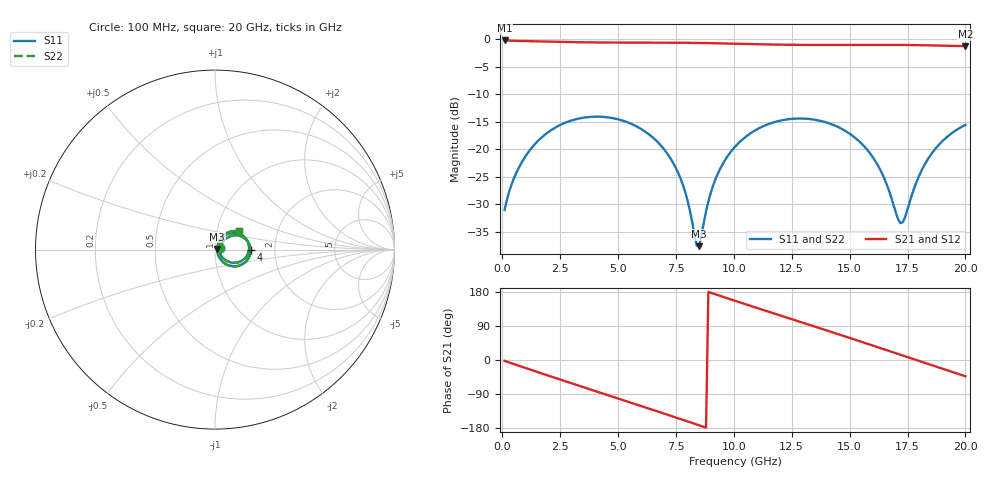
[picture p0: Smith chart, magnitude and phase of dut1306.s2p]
! Touchstone file exported from HFSS 2026.1.0
!  File:  C:/ffzhzh/LocalFiles/Ansys_Project_Files/temp_train_TSV_RDL_1306_1783334470_39728.aedt
!  Generated:  06:50:16 PM Jul  6, 2026
!  Design:  TSV_RDL
!  Project:  temp_train_TSV_RDL_1306_1783334470_39728
! Variables:
!  h_bsmrdl = 4.91um
!  h_ox = 20um
!  h_rdl = 5um
!  h_sub = 95.81um
!  h_tmrdl = 3.85um
!  h_tsv = 95.81um
!  h_via = 3um
!  l_bsmrdl = 645.18um
!  l_sub = 6404.29um
!  l_tmrdl = 988.35um
!  m_sub = 200um
!  pitch = 31.45um
!  r_tsv = 12.6um
!  s_tmrdl = 10um
!  w_bsmrdl = 15.76um
!  w_sub = 500um
!  w_tmrdl = 22.69um
!  x_tsv_center1 = 999.695um
!  x_tsv_center2 = 1660.635um
!  x_tsv_center3 = 2671.675um
!  x_tsv_center4 = 3332.615um
!  x_tsv_center5 = 4343.655um
!  x_tsv_center6 = 5004.595um
# GHz S MA R 50.000000
! Terminal data exported
! Port[1] = TM_RDL1_1_T1
! Port[2] = TM_RDL5_1_T1
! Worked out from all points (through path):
!   200 points, 100 MHz to 20 GHz, reference 50 ohm
!   highest |S21| = -0.23 dB at 100 MHz (marker M1); lowest = -1.3 dB at 20 GHz (marker M2)
!   group delay of S21, straight-line fit = 55.8 ps
!   lowest |S11| = -37.6 dB at 8.5 GHz (marker M3), VSWR 1.03, Z = 51.3 + j0.326 ohm
!   |S11| at or under -10 dB: start of sweep to end of sweep
!   |S22| runs from -37.8 to -14.1 dB; largest |S21 - S12| = 3.8e-14
!   S11 on the Smith chart (normalised r, x): 100 MHz: 1.05, +0.02; 4 GHz: 1.49, -0.01; 20 GHz: 1.27, +0.27
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0.1  0.02828 20.5  0.9739 -2.3  0.9739 -2.3  0.02828 20.5
! Gamma 0 0 0 0
! Port Impedance 50 0 50 0
0.6  0.0608 43.9  0.9649 -12.8  0.9649 -12.8  0.06081 43.9
1.3  0.105 42.7  0.9581 -27.2  0.9581 -27.2  0.105 42.7
3.5  0.1938 8.2  0.9369 -71.6  0.9369 -71.6  0.1938 8.2
4  0.198 -0.8  0.934 -81.6  0.934 -81.6  0.198 -0.9
5.4  0.1763 -26.3  0.931 -109.5  0.931 -109.5  0.1763 -26.4
6.8  0.1112 -50.6  0.931 -137.7  0.931 -137.7  0.1113 -50.8
7.7  0.05419 -61.0  0.9291 -156.0  0.9291 -156.0  0.05418 -61.3
8  0.03438 -58.7  0.9277 -162.2  0.9277 -162.2  0.03433 -59.1
8.4  0.01336 -14.8  0.9254 -170.3  0.9254 -170.3  0.01312 -15.4
8.5  0.01321 13.9  0.9247 -172.4  0.9247 -172.4  0.01294 14.0
9.1  0.04659 62.2  0.9197 175.4  0.9197 175.4  0.04648 62.5
10.1  0.1082 52.3  0.9094 155.2  0.9094 155.2  0.1082 52.4
11.8  0.1779 23.5  0.8931 121.5  0.8931 121.5  0.1779 23.5
13.4  0.187 -4.7  0.8869 90.1  0.8869 90.1  0.187 -4.6
15.4  0.119 -37.8  0.8896 50.3  0.8896 50.3  0.1191 -37.6
16.1  0.07891 -45.7  0.8903 36.1  0.8903 36.1  0.07906 -45.4
16.7  0.04222 -42.6  0.8896 23.9  0.8896 23.9  0.04251 -42.0
17.1  0.02303 -13.2  0.8883 15.7  0.8883 15.7  0.02358 -12.7
17.3  0.02183 19.1  0.8874 11.6  0.8874 11.6  0.02243 18.7
18.4  0.08264 59.9  0.8797 -10.8  0.8797 -10.8  0.08282 59.3
20  0.1669 37.6  0.865 -42.9  0.865 -42.9  0.167 37.3
